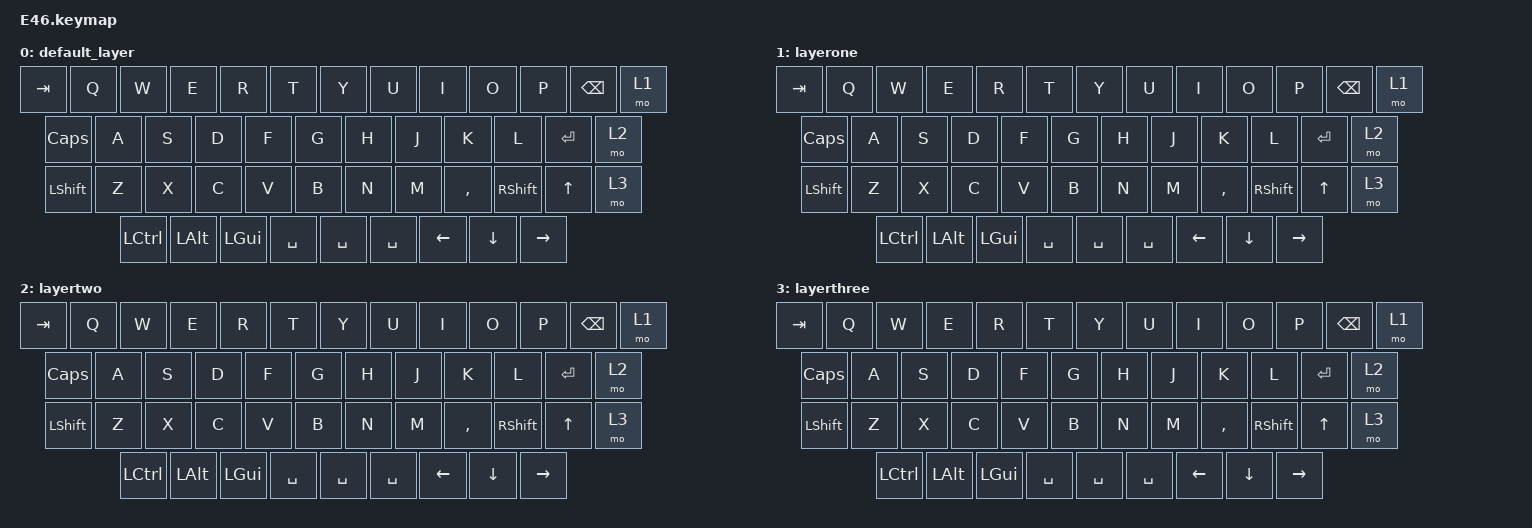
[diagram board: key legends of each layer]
/*
 * Copyright (c) 2020 The ZMK Contributors
 *
 * SPDX-License-Identifier: MIT
 */

#include <behaviors.dtsi>
#include <dt-bindings/zmk/keys.h>
#include <dt-bindings/zmk/bt.h>
#include <dt-bindings/zmk/outputs.h>


/ {
    keymap {
        compatible = "zmk,keymap";

        default_layer {
            // ----------------------------------------------------------------------------------------------------------
            // |  ESC  |  1   |  2   |  3   |  4   |  5   |-------|-------|   6   |  7    |  8   |  9   |   0   | BSPC  |
            // |  TAB  |  Q   |  W   |  E   |  R   |  T   |-------|-------|   Y   |  U    |  I   |  O   |   P   |  \    |
            // | SHIFT |  A   |  S   |  D   |  F   |  G   |-------|-------|   H   |  J    |  K   |  L   |   ;   |  '    |
            // | CTRL  |  Z   |  X   |  C   |  V   |  B   |-------|-------|   N   |  M    |  ,   |  .   |   /   | ENTER |
            // |-------|ADJUST| LCTL | LALT | LGUI | LOWR | SPACE | SPACE |  RAIS | LEFT | DOWN | UARW  | RARW  |-------|


            bindings = <
                &kp TAB    &kp Q    &kp W     &kp E    &kp R    &kp T    &kp Y  &kp U    &kp I     &kp O   &kp P  &kp BSPC  &mo 1
                &kp CAPS    &kp A    &kp S     &kp D    &kp F    &kp G    &kp H  &kp J    &kp K     &kp L   &kp ENTER       &mo 2
                &kp LSHFT    &kp Z    &kp X     &kp C    &kp V    &kp B    &kp N  &kp M    &kp COMMA   &kp RSHIFT  &kp UP_ARROW  &mo 3
                &kp LCTRL &kp LALT &kp LGUI     &kp SPACE    &kp SPACE     &kp SPACE    &kp LEFT_ARROW  &kp DOWN_ARROW  &kp RIGHT_ARROW
            >;
        };

        layerone {
            // ----------------------------------------------------------------------------------------------------------
            // |  ESC  |  F2  |  F3  |  F4  |  F5  |  F6  |-------|-------|   F7  |  F8   |  F9  | F10  |  F11  |  F12  |
            // |   ~   |  !   |  @   |  #   |  $   |  %   |-------|-------|   ^   |   &   |  *   |  (   |   )   |  DEL  |
            // |       |  F1  |  F2  |  F3  |  F4  |  F5  |-------|-------|   F6  |   _   |  +   |  {   |   }   |   |   |
            // |       |  F7  |  F8  |  F9  |  F10 |  F11 |-------|-------|   F12 | LS(#) |LS(|) |      |       |       |
            // |-------|      |      |      |      |      |       |       |       | NEXT  | Vol- | Vol+ | PLAY  |-------|
            bindings = <
                &kp TAB    &kp Q    &kp W     &kp E    &kp R    &kp T    &kp Y  &kp U    &kp I     &kp O   &kp P  &kp BSPC  &mo 1
                &kp CAPS    &kp A    &kp S     &kp D    &kp F    &kp G    &kp H  &kp J    &kp K     &kp L   &kp ENTER       &mo 2
                &kp LSHFT    &kp Z    &kp X     &kp C    &kp V    &kp B    &kp N  &kp M    &kp COMMA   &kp RSHIFT  &kp UP_ARROW  &mo 3
                &kp LCTRL &kp LALT &kp LGUI     &kp SPACE    &kp SPACE     &kp SPACE    &kp LEFT_ARROW  &kp DOWN_ARROW  &kp RIGHT_ARROW
            >;
        };


        layertwo {
            // ----------------------------------------------------------------------------------------------------------
            // |tog(4)|  F2  |  F3  |  F4  |  F5  |  F6  |------|------|  F7  |  F8  |  F9  |  F10 |  F11 |    F12    |
            // |      |  NA  |  NA  |  NA  |  NA  |  NA  |------|------|  NA  |  NA  |  NA  |  NA  |  NA  |LALT(PRTSN)|
            // |      |  NA  |  NA  |  NA  |  NA  |  NA  |------|------|  NA  |  NA  |  NA  |  NA  |  NA  |   PRTSN   |
            // |      |  NA  |  NA  |  NA  |  NA  |  NA  |------|------|  NA  |  NA  |  NA  |  NA  |  NA  |LCTRL(DEL) |
            // |------|      |      |      |      |      |BOOTLD|BOOTLD|      |      |      |      |      |-----------|
            bindings = <
                &kp TAB    &kp Q    &kp W     &kp E    &kp R    &kp T    &kp Y  &kp U    &kp I     &kp O   &kp P  &kp BSPC  &mo 1
                &kp CAPS    &kp A    &kp S     &kp D    &kp F    &kp G    &kp H  &kp J    &kp K     &kp L   &kp ENTER       &mo 2
                &kp LSHFT    &kp Z    &kp X     &kp C    &kp V    &kp B    &kp N  &kp M    &kp COMMA   &kp RSHIFT  &kp UP_ARROW  &mo 3
                &kp LCTRL &kp LALT &kp LGUI     &kp SPACE    &kp SPACE     &kp SPACE    &kp LEFT_ARROW  &kp DOWN_ARROW  &kp RIGHT_ARROW
            >;
        };

        layerthree {
            // ----------------------------------------------------------------------------------------------------------
            // |tog(4)|  F2  |  F3  |  F4  |  F5  |  F6  |------|------|  F7  |  F8  |  F9  |  F10 |  F11 |    F12    |
            // |      |  NA  |  NA  |  NA  |  NA  |  NA  |------|------|  NA  |  NA  |  NA  |  NA  |  NA  |LALT(PRTSN)|
            // |      |  NA  |  NA  |  NA  |  NA  |  NA  |------|------|  NA  |  NA  |  NA  |  NA  |  NA  |   PRTSN   |
            // |      |  NA  |  NA  |  NA  |  NA  |  NA  |------|------|  NA  |  NA  |  NA  |  NA  |  NA  |LCTRL(DEL) |
            // |------|      |      |      |      |      |BOOTLD|BOOTLD|      |      |      |      |      |-----------|
            bindings = <
                &kp TAB    &kp Q    &kp W     &kp E    &kp R    &kp T    &kp Y  &kp U    &kp I     &kp O   &kp P  &kp BSPC  &mo 1
                &kp CAPS    &kp A    &kp S     &kp D    &kp F    &kp G    &kp H  &kp J    &kp K     &kp L   &kp ENTER       &mo 2
                &kp LSHFT    &kp Z    &kp X     &kp C    &kp V    &kp B    &kp N  &kp M    &kp COMMA   &kp RSHIFT  &kp UP_ARROW  &mo 3
                &kp LCTRL &kp LALT &kp LGUI     &kp SPACE    &kp SPACE     &kp SPACE    &kp LEFT_ARROW  &kp DOWN_ARROW  &kp RIGHT_ARROW
            >;
        };

    };
};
